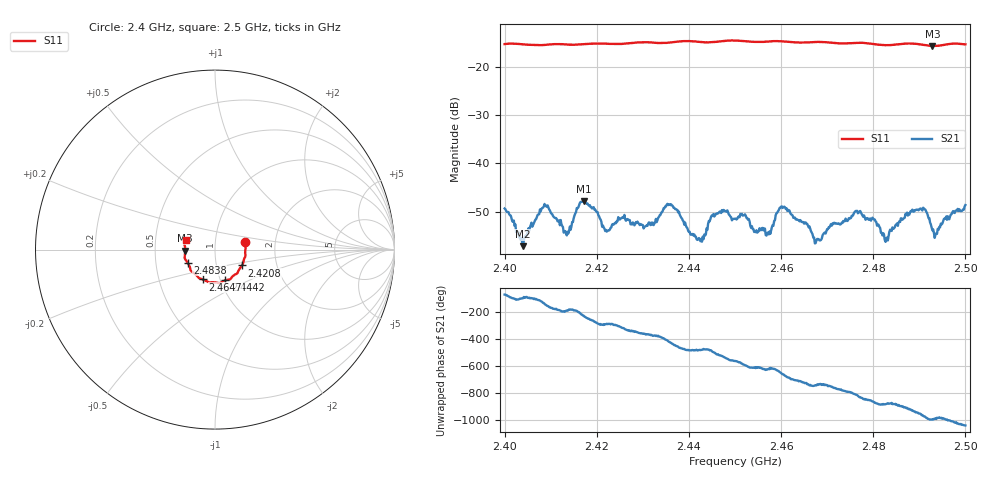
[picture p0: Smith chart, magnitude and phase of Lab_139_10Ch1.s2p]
# Hz S RI R 50
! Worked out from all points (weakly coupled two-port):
!   601 points, 2.4 GHz to 2.5 GHz, reference 50 ohm
!   highest |S21| = -47.86 dB at 2.4172 GHz (marker M1); lowest = -57.2 dB at 2.404 GHz (marker M2)
!   lowest |S11| = -15.6 dB at 2.4928 GHz (marker M3), VSWR 1.40, Z = 35.8 - j0.395 ohm
!   |S11| at or under -10 dB: start of sweep to end of sweep
!   S12 and S22 are empty: the file has one direction only
!   S11 on the Smith chart (normalised r, x): 2.4 GHz: 1.40, +0.12; 2.4208 GHz: 1.33, -0.24; 2.4442 GHz: 1.05, -0.37; 2.4647 GHz: 0.83, -0.29; 2.4838 GHz: 0.73, -0.11; 2.5 GHz: 0.72, +0.08
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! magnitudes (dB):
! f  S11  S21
! 2.4 GHz  -15.2  -49.4
! 2.404 GHz  -15.3  -57.2
! 2.4088 GHz  -15.4  -48.9
! 2.4138 GHz  -15.3  -54.6
! 2.4167 GHz  -15.3  -48.0
! 2.4172 GHz  -15.2  -47.9
! 2.4208 GHz  -15.1  -51.7
! 2.4333 GHz  -15.0  -51.3
! 2.4362 GHz  -14.9  -48.5
! 2.4423 GHz  -14.8  -55.7
! 2.4442 GHz  -14.9  -52.5
! 2.45 GHz  -14.5  -51.5
! 2.4572 GHz  -14.7  -54.3
! 2.4603 GHz  -14.7  -49.3
! 2.4647 GHz  -14.9  -52.2
! 2.4667 GHz  -14.8  -54.4
! 2.4767 GHz  -15.0  -50.4
! 2.4833 GHz  -15.5  -55.1
! 2.4838 GHz  -15.4  -53.8
! 2.4905 GHz  -15.3  -49.6
! 2.4928 GHz  -15.6  -53.9
! 2.5 GHz  -15.3  -48.6
